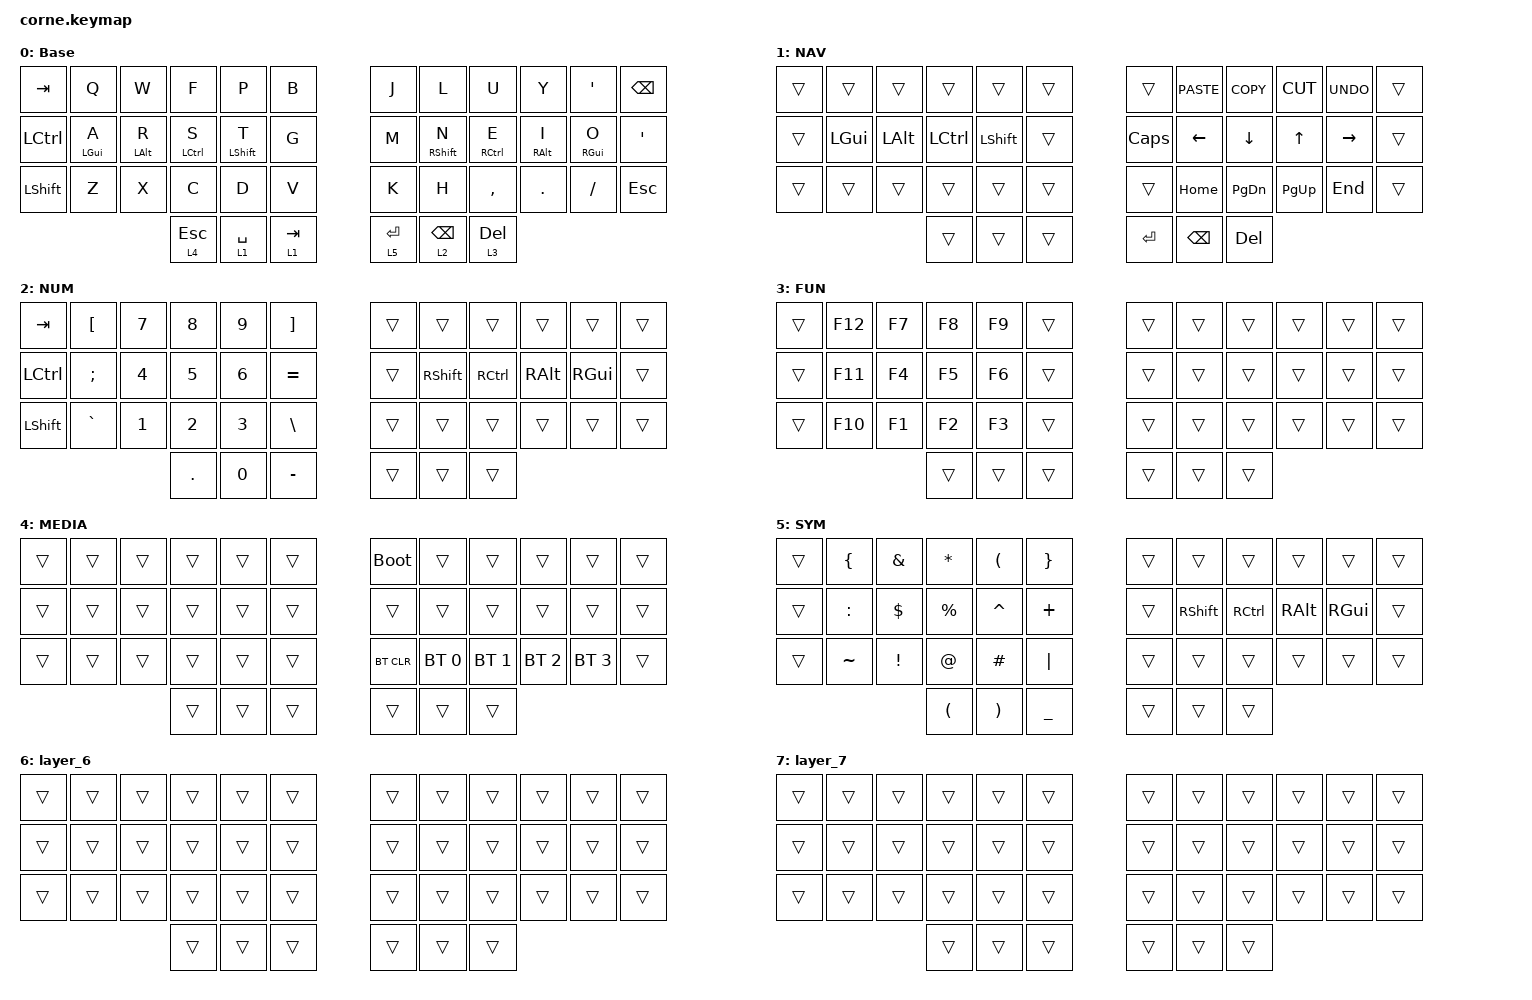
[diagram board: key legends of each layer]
/*
 * Copyright (c) 2020 The ZMK Contributors
 *
 * SPDX-License-Identifier: MIT
 */

#include <behaviors.dtsi>
#include <dt-bindings/zmk/bt.h>
#include <dt-bindings/zmk/keys.h>

&mt { flavor = "tap-preferred"; };

/ {
    combos { compatible = "zmk,combos"; };

    keymap {
        compatible = "zmk,keymap";

        BASE {
            // -----------------------------------------------------------------------------------------
            // |  TAB |  Q  |  W  |  E  |  R  |  T  |   |  Y  |  U   |  I  |  O  |  P  | BKSP |
            // | CTRL |  A  |  S  |  D  |  F  |  G  |   |  H  |  J   |  K  |  L  |  ;  |  '   |
            // | SHFT |  Z  |  X  |  C  |  V  |  B  |   |  N  |  M   |  ,  |  .  |  /  | ESC  |
            //                    | GUI | LWR | SPC |   | ENT | RSE  | ALT |

            label = "Base";
            bindings = <
&kp TAB    &kp Q           &kp W           &kp F         &kp P             &kp B        &kp J      &kp L              &kp U        &kp Y            &kp SQT          &kp BSPC
&kp LCTRL  &mt LEFT_GUI A  &mt LEFT_ALT R  &mt LCTRL S   &mt LEFT_SHIFT T  &kp G        &kp M      &mt RIGHT_SHIFT N  &mt RCTRL E  &mt RIGHT_ALT I  &mt RIGHT_GUI O  &kp SQT
&kp LSHFT  &kp Z           &kp X           &kp C         &kp D             &kp V        &kp K      &kp H              &kp COMMA    &kp DOT          &kp FSLH         &kp ESC
                                           &lt 4 ESCAPE  &lt 1 SPACE       &lt 1 TAB    &lt 5 RET  &lt 2 BACKSPACE    &lt 3 DEL
            >;
        };

        NAV {
            // -----------------------------------------------------------------------------------------
            // |  TAB |  1  |  2  |  3  |  4  |  5  |   |  6  |  7  |  8  |  9  |  0  | BKSP |
            // | BTCLR| BT1 | BT2 | BT3 | BT4 | BT5 |   | LFT | DWN |  UP | RGT |     |      |
            // | SHFT |     |     |     |     |     |   |     |     |     |     |     |      |
            //                    |BTCLR|     | SPC |   | ENT |     | ALT |

            label = "NAV";
            bindings = <
&trans  &trans        &trans        &trans     &trans          &trans    &trans    &kp K_PASTE    &kp K_COPY  &kp K_CUT     &kp K_UNDO  &trans
&trans  &kp LEFT_GUI  &kp LEFT_ALT  &kp LCTRL  &kp LEFT_SHIFT  &trans    &kp CAPS  &kp LEFT       &kp DOWN    &kp UP_ARROW  &kp RIGHT   &trans
&trans  &trans        &trans        &trans     &trans          &trans    &trans    &kp HOME       &kp PG_DN   &kp PG_UP     &kp END     &trans
                                    &trans     &trans          &trans    &kp RET   &kp BACKSPACE  &kp DEL
            >;
        };

        NUM {
            // -----------------------------------------------------------------------------------------
            // |  TAB |  !  |  @  |  #  |  $  |  %  |   |  ^  |  &  |  *  |  (  |  )  | BKSP |
            // | CTRL |     |     |     |     |     |   |  -  |  =  |  [  |  ]  |  \  |  `   |
            // | SHFT |     |     |     |     |     |   |  _  |  +  |  {  |  }  | "|" |  ~   |
            //                    | GUI |     | SPC |   | ENT |     | ALT |

            label = "NUM";
            bindings = <
&kp TAB    &kp LBKT   &kp N7  &kp N8   &kp N9  &kp RBKT     &trans  &trans           &trans     &trans         &trans         &trans
&kp LCTRL  &kp SEMI   &kp N4  &kp N5   &kp N6  &kp EQUAL    &trans  &kp RIGHT_SHIFT  &kp RCTRL  &kp RIGHT_ALT  &kp RIGHT_GUI  &trans
&kp LSHFT  &kp GRAVE  &kp N1  &kp N2   &kp N3  &kp BSLH     &trans  &trans           &trans     &trans         &trans         &trans
                              &kp DOT  &kp N0  &kp MINUS    &trans  &trans           &trans
            >;
        };

        FUN {
            bindings = <
&trans  &kp F12  &kp F7  &kp F8  &kp F9  &trans    &trans  &trans  &trans  &trans  &trans  &trans
&trans  &kp F11  &kp F4  &kp F5  &kp F6  &trans    &trans  &trans  &trans  &trans  &trans  &trans
&trans  &kp F10  &kp F1  &kp F2  &kp F3  &trans    &trans  &trans  &trans  &trans  &trans  &trans
                         &trans  &trans  &trans    &trans  &trans  &trans
            >;

            label = "FUN";
        };

        MEDIA {
            bindings = <
&trans  &trans  &trans  &trans  &trans  &trans    &bootloader  &trans        &trans        &trans        &trans        &trans
&trans  &trans  &trans  &trans  &trans  &trans    &trans       &trans        &trans        &trans        &trans        &trans
&trans  &trans  &trans  &trans  &trans  &trans    &bt BT_CLR   &bt BT_SEL 0  &bt BT_SEL 1  &bt BT_SEL 2  &bt BT_SEL 3  &trans
                        &trans  &trans  &trans    &trans       &trans        &trans
            >;

            label = "MEDIA";
        };

        SYM {
            bindings = <
&trans  &kp LEFT_BRACE  &kp AMPERSAND  &kp ASTERISK          &kp LEFT_PARENTHESIS   &kp RIGHT_BRACE    &trans  &trans     &trans     &trans    &trans    &trans
&trans  &kp COLON       &kp DOLLAR     &kp PERCENT           &kp CARET              &kp PLUS           &trans  &kp RSHFT  &kp RCTRL  &kp RALT  &kp RGUI  &trans
&trans  &kp TILDE       &kp EXCL       &kp AT_SIGN           &kp HASH               &kp PIPE           &trans  &trans     &trans     &trans    &trans    &trans
                                       &kp LEFT_PARENTHESIS  &kp RIGHT_PARENTHESIS  &kp UNDERSCORE     &trans  &trans     &trans
            >;
        };

        layer_6 {
            bindings = <
&trans  &trans  &trans  &trans  &trans  &trans    &trans  &trans  &trans  &trans  &trans  &trans
&trans  &trans  &trans  &trans  &trans  &trans    &trans  &trans  &trans  &trans  &trans  &trans
&trans  &trans  &trans  &trans  &trans  &trans    &trans  &trans  &trans  &trans  &trans  &trans
                        &trans  &trans  &trans    &trans  &trans  &trans
            >;
        };

        layer_7 {
            bindings = <
&trans  &trans  &trans  &trans  &trans  &trans    &trans  &trans  &trans  &trans  &trans  &trans
&trans  &trans  &trans  &trans  &trans  &trans    &trans  &trans  &trans  &trans  &trans  &trans
&trans  &trans  &trans  &trans  &trans  &trans    &trans  &trans  &trans  &trans  &trans  &trans
                        &trans  &trans  &trans    &trans  &trans  &trans
            >;
        };
    };

    conditional_layers { compatible = "zmk,conditional-layers"; };
};
